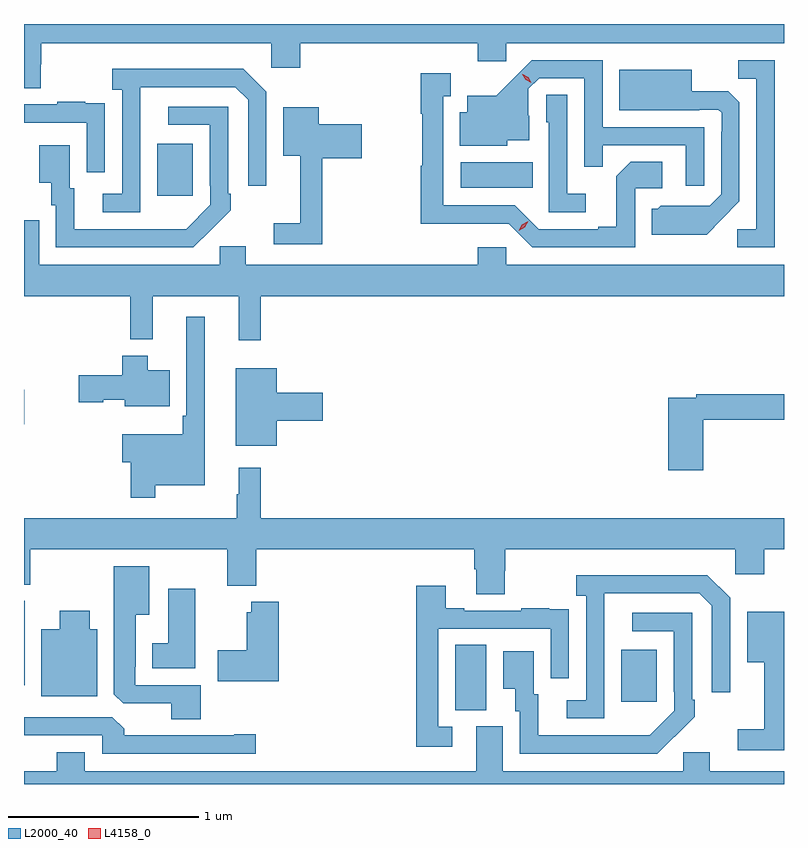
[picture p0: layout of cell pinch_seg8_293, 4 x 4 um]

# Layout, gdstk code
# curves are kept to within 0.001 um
import gdstk
lib = gdstk.Library(unit=1e-6, precision=1e-09)
def R(c, l, rs):  # rectangles x0, y0, x1, y1
    for r in rs: c.add(gdstk.rectangle(r[:2], r[2:], *l))
def P(c, l, *ps):  # polygons
    for p in ps: c.add(gdstk.Polygon(p, *l))
L2000_40 = (2000, 40)
L4158_0 = (4158, 0)

pinch_seg8_293 = lib.new_cell('pinch_seg8_293')
R(pinch_seg8_293, L2000_40, [(516.746,1147.621,516.91,1147.964), (517.619,1147.665,517.807,1147.939), (514.476,1147.752,514.48,1148.196), (514.476,1149.125,514.477,1149.308), (515.177,1150.329,515.365,1150.603), (516.774,1150.37,517.154,1150.504)])
P(pinch_seg8_293, L2000_40, [(514.563,1151.019),(514.568,1151.019),(514.568,1151.132),(515.778,1151.132),(515.778,1151.001),(515.93,1151.001),(515.93,1151.132),(516.863,1151.132),(516.863,1151.037),(517.014,1151.037),(517.014,1151.132),(518.476,1151.132),(518.476,1151.232),(514.476,1151.232),(514.476,1150.894),(514.563,1150.894)],
  [(518.055,1150.689),(517.521,1150.689),(517.521,1151.04),(517.148,1151.04),(516.961,1150.855),(516.809,1150.855),(516.809,1150.768),(516.77,1150.768),(516.77,1150.592),(517.02,1150.592),(517.02,1150.619),(517.135,1150.619),(517.135,1150.748),(517.131,1150.748),(517.131,1150.89),(517.188,1150.947),(517.425,1150.947),(517.425,1150.48),(517.523,1150.48),(517.523,1150.593),(517.959,1150.593),(517.959,1150.38),(518.055,1150.38)],
  [(518.427,1151.04),(518.236,1151.04),(518.236,1150.945),(518.331,1150.945),(518.331,1150.152),(518.229,1150.152),(518.229,1150.056),(518.427,1150.056)],
  [(515.088,1150.699),(515.089,1150.899),(515.589,1150.899),(515.655,1150.833),(515.655,1150.38),(515.751,1150.38),(515.751,1150.875),(515.63,1150.996),(514.941,1150.996),(514.941,1150.886),(514.992,1150.886),(514.992,1150.338),(514.89,1150.338),(514.89,1150.242),(515.088,1150.242)],
  [(518.149,1150.205),(518.241,1150.298),(518.241,1150.82),(518.182,1150.879),(517.99,1150.879),(517.99,1150.99),(517.61,1150.99),(517.61,1150.778),(518.03,1150.778),(518.03,1150.782),(518.13,1150.782),(518.148,1150.764),(518.148,1150.664),(518.145,1150.664),(518.145,1150.335),(518.085,1150.275),(517.828,1150.276),(517.812,1150.26),(517.781,1150.26),(517.781,1150.124),(518.069,1150.124)],
  [(517.692,1150.368),(517.834,1150.368),(517.834,1150.508),(517.669,1150.508),(517.593,1150.432),(517.593,1150.165),(517.499,1150.165),(517.499,1150.152),(517.185,1150.152),(517.059,1150.278),(516.682,1150.278),(516.682,1150.851),(516.721,1150.851),(516.721,1150.972),(516.564,1150.972),(516.564,1150.759),(516.571,1150.759),(516.571,1150.485),(516.564,1150.485),(516.564,1150.181),(517.026,1150.182),(517.152,1150.056),(517.692,1150.056)],
  [(517.432,1150.339),(517.335,1150.339),(517.335,1150.859),(517.224,1150.859),(517.224,1150.716),(517.239,1150.716),(517.239,1150.242),(517.432,1150.242)],
  [(514.902,1150.706),(514.901,1150.706),(514.901,1150.815),(514.799,1150.815),(514.799,1150.822),(514.651,1150.822),(514.651,1150.809),(514.476,1150.809),(514.476,1150.713),(514.806,1150.713),(514.806,1150.452),(514.902,1150.452)],
  [(515.459,1150.147),(515.46,1150.146),(515.565,1150.251),(515.565,1150.339),(515.55,1150.339),(515.55,1150.797),(515.235,1150.797),(515.235,1150.701),(515.454,1150.701),(515.454,1150.381),(515.457,1150.381),(515.457,1150.281),(515.329,1150.153),(514.741,1150.152),(514.741,1150.368),(514.717,1150.368),(514.717,1150.594),(514.556,1150.594),(514.556,1150.397),(514.619,1150.397),(514.619,1150.278),(514.644,1150.278),(514.644,1150.056),(515.368,1150.056)],
  [(516.047,1150.526),(516.253,1150.526),(516.253,1150.704),(516.028,1150.704),(516.028,1150.795),(515.84,1150.795),(515.84,1150.538),(515.93,1150.538),(515.93,1150.183),(515.79,1150.183),(515.79,1150.074),(516.047,1150.074)],
  [(515.723,1149.8),(518.476,1149.8),(518.476,1149.964),(517.014,1149.964),(517.014,1150.057),(516.863,1150.057),(516.863,1149.964),(515.644,1149.964),(515.644,1150.062),(515.505,1150.062),(515.505,1149.964),(514.555,1149.964),(514.555,1150.2),(514.476,1150.2),(514.476,1149.8),(515.035,1149.8),(515.035,1149.572),(515.153,1149.572),(515.153,1149.8),(515.606,1149.8),(515.606,1149.567),(515.723,1149.567)],
  [(515.167,1148.804),(515.428,1148.804),(515.428,1149.691),(515.331,1149.691),(515.331,1149.169),(515.311,1149.169),(515.311,1149.073),(514.994,1149.073),(514.994,1148.926),(515.038,1148.926),(515.038,1148.739),(515.167,1148.739)],
  [(515.242,1149.409),(515.128,1149.409),(515.128,1149.487),(514.994,1149.487),(514.994,1149.384),(514.764,1149.384),(514.764,1149.242),(514.893,1149.242),(514.893,1149.254),(515.006,1149.254),(515.006,1149.221),(515.242,1149.221)],
  [(515.806,1149.143),(516.049,1149.143),(516.049,1149.29),(515.806,1149.29),(515.806,1149.421),(515.591,1149.421),(515.591,1149.011),(515.806,1149.011)],
  [(518.051,1149.148),(518.476,1149.148),(518.476,1149.284),(518.014,1149.284),(518.014,1149.264),(517.868,1149.264),(517.868,1148.883),(518.051,1148.883)],
  [(517.005,1148.355),(517.01,1148.355),(517.01,1148.468),(518.22,1148.468),(518.22,1148.337),(518.371,1148.337),(518.371,1148.468),(518.476,1148.468),(518.476,1148.632),(515.723,1148.632),(515.723,1148.896),(515.606,1148.896),(515.606,1148.756),(515.595,1148.756),(515.595,1148.632),(514.476,1148.632),(514.476,1148.281),(514.509,1148.281),(514.509,1148.468),(515.546,1148.468),(515.546,1148.276),(515.699,1148.276),(515.699,1148.468),(516.845,1148.468),(516.845,1148.362),(516.857,1148.362),(516.857,1148.23),(517.005,1148.23)],
  [(515.405,1147.752),(515.061,1147.752),(515.061,1147.849),(515.065,1147.849),(515.065,1148.123),(515.134,1148.123),(515.134,1148.377),(514.949,1148.377),(514.949,1147.705),(514.998,1147.656),(515.252,1147.656),(515.252,1147.573),(515.405,1147.573)],
  [(517.53,1148.035),(517.531,1148.235),(518.031,1148.235),(518.097,1148.169),(518.097,1147.716),(518.193,1147.716),(518.193,1148.211),(518.072,1148.332),(517.383,1148.332),(517.383,1148.222),(517.434,1148.222),(517.434,1147.674),(517.332,1147.674),(517.332,1147.578),(517.53,1147.578)],
  [(516.73,1147.533),(516.657,1147.533),(516.657,1148.049),(517.248,1148.049),(517.248,1147.788),(517.344,1147.788),(517.344,1148.042),(517.343,1148.042),(517.343,1148.151),(517.241,1148.151),(517.241,1148.158),(517.093,1148.158),(517.093,1148.145),(516.793,1148.145),(516.793,1148.158),(516.697,1148.158),(516.697,1148.275),(516.541,1148.275),(516.541,1147.428),(516.73,1147.428)],
  [(515.377,1148.26),(515.234,1148.26),(515.234,1147.972),(515.15,1147.972),(515.15,1147.841),(515.377,1147.841)],
  [(515.816,1148.191),(515.671,1148.191),(515.671,1148.137),(515.648,1148.137),(515.648,1147.935),(515.496,1147.935),(515.496,1147.772),(515.816,1147.772)],
  [(514.861,1148.047),(514.822,1148.047),(514.822,1148.143),(514.664,1148.143),(514.664,1148.047),(514.568,1148.047),(514.568,1147.694),(514.861,1147.694)],
  [(518.476,1148.139),(518.282,1148.139),(518.282,1147.874),(518.371,1147.874),(518.371,1147.519),(518.232,1147.519),(518.232,1147.41),(518.476,1147.41)],
  [(517.901,1147.483),(517.902,1147.482),(518.007,1147.587),(518.007,1147.675),(517.992,1147.675),(517.992,1148.133),(517.677,1148.133),(517.677,1148.037),(517.896,1148.037),(517.896,1147.717),(517.899,1147.717),(517.899,1147.617),(517.77,1147.489),(517.183,1147.488),(517.183,1147.704),(517.159,1147.704),(517.159,1147.93),(516.998,1147.93),(516.998,1147.733),(517.061,1147.733),(517.061,1147.614),(517.086,1147.614),(517.086,1147.392),(517.81,1147.392)],
  [(515.695,1147.493),(515.582,1147.493),(515.582,1147.488),(515.003,1147.488),(515.003,1147.522),(514.941,1147.584),(514.476,1147.584),(514.476,1147.488),(514.887,1147.488),(514.887,1147.392),(515.695,1147.392)],
  [(518.476,1147.3),(518.086,1147.3),(518.086,1147.398),(517.947,1147.398),(517.947,1147.3),(516.997,1147.3),(516.997,1147.536),(516.857,1147.536),(516.857,1147.3),(514.795,1147.3),(514.795,1147.399),(514.648,1147.399),(514.648,1147.3),(514.476,1147.3),(514.476,1147.232),(518.476,1147.232)])
P(pinch_seg8_293, L4158_0, [(517.147,1150.923),(517.116,1150.938),(517.099,1150.967),(517.099,1150.968),(517.1,1150.968),(517.13,1150.953),(517.147,1150.924),(517.147,1150.923)],
  [(517.08,1150.143),(517.08,1150.143),(517.097,1150.175),(517.129,1150.194),(517.13,1150.194),(517.13,1150.194),(517.112,1150.161),(517.08,1150.143)])

lib.write_gds('pinch_seg8_293.gds')
